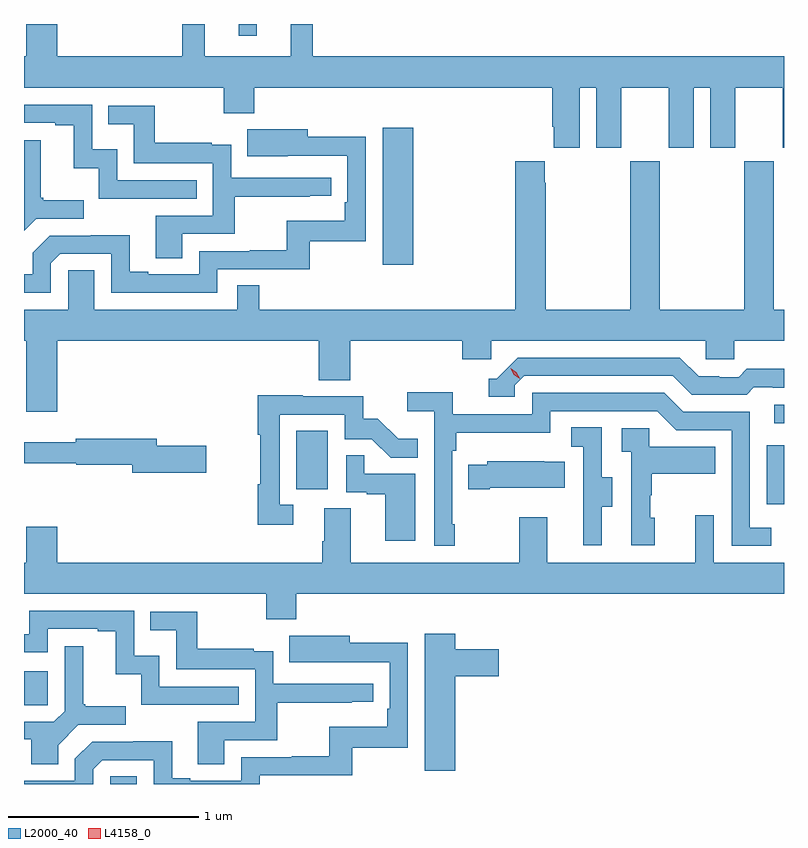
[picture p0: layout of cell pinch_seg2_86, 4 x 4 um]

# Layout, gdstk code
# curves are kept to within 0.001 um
import gdstk
lib = gdstk.Library(unit=1e-6, precision=1e-09)
def R(c, l, rs):  # rectangles x0, y0, x1, y1
    for r in rs: c.add(gdstk.rectangle(r[:2], r[2:], *l))
def P(c, l, *ps):  # polygons
    for p in ps: c.add(gdstk.Polygon(p, *l))
L2000_40 = (2000, 40)
L4158_0 = (4158, 0)

pinch_seg2_86 = lib.new_cell('pinch_seg2_86')
R(pinch_seg2_86, L2000_40, [(1040.574,631.983,1040.713,632.024), (1040.12,632.397,1040.244,632.577), (1044.03,633.456,1044.12,633.766), (1041.554,633.534,1041.718,633.841), (1044.069,633.882,1044.12,633.978), (1042.007,634.716,1042.168,635.437), (1041.249,635.922,1041.346,635.983)])
P(pinch_seg2_86, L2000_40, [(1043.044,635.648),(1043.132,635.648),(1043.132,635.331),(1043.263,635.331),(1043.263,635.648),(1043.513,635.648),(1043.513,635.331),(1043.644,635.331),(1043.644,635.648),(1043.732,635.648),(1043.732,635.331),(1043.863,635.331),(1043.863,635.648),(1044.113,635.648),(1044.113,635.331),(1044.12,635.331),(1044.12,635.812),(1041.641,635.812),(1041.641,635.983),(1041.524,635.983),(1041.524,635.812),(1041.071,635.812),(1041.071,635.983),(1040.953,635.983),(1040.953,635.812),(1040.296,635.812),(1040.296,635.983),(1040.132,635.983),(1040.132,635.812),(1040.12,635.812),(1040.12,635.648),(1041.172,635.648),(1041.172,635.513),(1041.332,635.513),(1041.332,635.648),(1042.901,635.648),(1042.901,635.443),(1042.907,635.443),(1042.907,635.331),(1043.044,635.331)],
  [(1041.029,635.16),(1040.61,635.16),(1040.61,635.323),(1040.478,635.323),(1040.478,635.559),(1040.12,635.559),(1040.12,635.463),(1040.285,635.463),(1040.285,635.451),(1040.381,635.451),(1040.381,635.225),(1040.514,635.225),(1040.514,635.064),(1041.029,635.064)],
  [(1040.953,634.878),(1041.23,634.878),(1041.23,635.074),(1041.623,635.074),(1041.623,635.079),(1041.736,635.079),(1041.736,635.175),(1041.21,635.175),(1041.21,635.347),(1041.107,635.347),(1041.107,635.359),(1040.809,635.359),(1040.809,635.553),(1040.563,635.553),(1040.563,635.456),(1040.698,635.456),(1040.698,635.25),(1041.114,635.25),(1041.114,634.974),(1040.813,634.974),(1040.813,634.75),(1040.953,634.75)],
  [(1040.262,634.725),(1040.31,634.773),(1040.58,634.773),(1040.58,634.569),(1041.138,634.569),(1041.138,634.692),(1041.625,634.692),(1041.625,634.839),(1041.918,634.839),(1041.918,635.39),(1041.613,635.39),(1041.613,635.428),(1041.295,635.428),(1041.295,635.288),(1041.822,635.289),(1041.822,635.044),(1041.809,635.044),(1041.809,634.948),(1041.504,634.948),(1041.504,634.793),(1041.307,634.793),(1041.307,634.788),(1041.042,634.788),(1041.042,634.665),(1040.773,634.665),(1040.773,634.678),(1040.677,634.678),(1040.677,634.871),(1040.472,634.871),(1040.472,634.869),(1040.256,634.869),(1040.166,634.779),(1040.166,634.665),(1040.12,634.665),(1040.12,634.569),(1040.262,634.569)],
  [(1040.184,634.959),(1040.434,634.959),(1040.434,635.056),(1040.221,635.056),(1040.221,635.068),(1040.209,635.068),(1040.209,635.371),(1040.12,635.371),(1040.12,634.895)],
  [(1040.296,634.316),(1041.671,634.316),(1041.671,634.108),(1041.836,634.108),(1041.836,634.316),(1042.427,634.316),(1042.427,634.218),(1042.578,634.218),(1042.578,634.316),(1043.709,634.316),(1043.709,634.218),(1043.859,634.218),(1043.859,634.316),(1044.12,634.316),(1044.12,634.48),(1044.066,634.48),(1044.066,635.26),(1043.911,635.26),(1043.911,634.48),(1043.466,634.48),(1043.466,635.26),(1043.311,635.26),(1043.311,634.48),(1042.866,634.48),(1042.866,635.147),(1042.861,635.147),(1042.861,635.26),(1042.706,635.26),(1042.706,634.48),(1041.359,634.48),(1041.359,634.607),(1041.243,634.607),(1041.243,634.48),(1040.491,634.48),(1040.491,634.688),(1040.352,634.688),(1040.352,634.48),(1040.12,634.48),(1040.12,634.316),(1040.132,634.316),(1040.132,633.942),(1040.296,633.942)],
  [(1042.704,634.083),(1042.752,634.131),(1043.535,634.131),(1043.634,634.032),(1043.923,634.032),(1043.962,634.071),(1044.061,634.071),(1044.061,634.068),(1044.12,634.068),(1044.12,634.168),(1043.923,634.168),(1043.881,634.125),(1043.778,634.125),(1043.778,634.128),(1043.671,634.128),(1043.572,634.227),(1042.719,634.227),(1042.608,634.116),(1042.565,634.116),(1042.565,634.02),(1042.704,634.02)],
  [(1042.387,633.349),(1042.374,633.349),(1042.374,633.737),(1042.394,633.737),(1042.394,633.833),(1042.89,633.833),(1042.89,633.945),(1043.454,633.945),(1043.553,633.846),(1043.844,633.846),(1043.844,633.237),(1044.053,633.237),(1044.053,633.333),(1043.94,633.333),(1043.94,633.942),(1043.59,633.942),(1043.491,634.041),(1042.794,634.041),(1042.794,633.93),(1042.376,633.93),(1042.376,634.046),(1042.137,634.046),(1042.137,633.944),(1042.278,633.944),(1042.278,633.237),(1042.387,633.237)],
  [(1041.538,633.453),(1041.465,633.453),(1041.465,633.927),(1041.807,633.927),(1041.807,633.798),(1041.951,633.798),(1042.049,633.7),(1042.193,633.7),(1042.193,633.799),(1042.089,633.799),(1041.982,633.906),(1041.906,633.906),(1041.906,634.023),(1041.587,634.023),(1041.587,634.028),(1041.349,634.028),(1041.349,633.82),(1041.364,633.82),(1041.364,633.56),(1041.349,633.56),(1041.349,633.348),(1041.538,633.348)],
  [(1043.161,633.442),(1043.215,633.442),(1043.215,633.597),(1043.16,633.597),(1043.16,633.86),(1043.001,633.86),(1043.001,633.757),(1043.064,633.757),(1043.064,633.453),(1043.063,633.453),(1043.063,633.24),(1043.161,633.24)],
  [(1043.44,633.384),(1043.415,633.384),(1043.415,633.503),(1043.425,633.503),(1043.425,633.617),(1043.759,633.617),(1043.759,633.757),(1043.412,633.757),(1043.412,633.855),(1043.265,633.855),(1043.265,633.731),(1043.316,633.731),(1043.316,633.24),(1043.44,633.24)],
  [(1041.079,633.764),(1040.818,633.764),(1040.818,633.8),(1040.392,633.8),(1040.392,633.781),(1040.12,633.781),(1040.12,633.672),(1040.394,633.672),(1040.394,633.664),(1040.69,633.664),(1040.69,633.622),(1041.079,633.622)],
  [(1042.18,633.615),(1041.911,633.615),(1041.911,633.713),(1041.816,633.713),(1041.816,633.519),(1041.923,633.519),(1041.923,633.507),(1042.022,633.507),(1042.022,633.264),(1042.18,633.264)],
  [(1042.57,633.542),(1042.967,633.542),(1042.967,633.679),(1042.859,633.679),(1042.859,633.682),(1042.557,633.682),(1042.557,633.664),(1042.459,633.664),(1042.459,633.535),(1042.57,633.535)],
  [(1041.554,632.984),(1044.12,632.984),(1044.12,633.148),(1043.751,633.148),(1043.751,633.397),(1043.654,633.397),(1043.654,633.148),(1042.873,633.148),(1042.873,633.388),(1042.726,633.388),(1042.726,633.148),(1041.841,633.148),(1041.841,633.434),(1041.701,633.434),(1041.701,633.26),(1041.689,633.26),(1041.689,633.148),(1040.296,633.148),(1040.296,633.337),(1040.132,633.337),(1040.132,633.148),(1040.12,633.148),(1040.12,632.984),(1041.394,632.984),(1041.394,632.849),(1041.554,632.849)],
  [(1041.251,632.496),(1040.832,632.496),(1040.832,632.659),(1040.7,632.659),(1040.7,632.895),(1040.148,632.895),(1040.148,632.772),(1040.12,632.772),(1040.12,632.676),(1040.244,632.676),(1040.244,632.799),(1040.507,632.799),(1040.507,632.787),(1040.603,632.787),(1040.603,632.561),(1040.736,632.561),(1040.736,632.4),(1041.251,632.4)],
  [(1041.175,632.214),(1041.452,632.214),(1041.452,632.41),(1041.845,632.41),(1041.845,632.415),(1041.958,632.415),(1041.958,632.511),(1041.432,632.511),(1041.432,632.683),(1041.329,632.683),(1041.329,632.695),(1041.031,632.695),(1041.031,632.889),(1040.785,632.889),(1040.785,632.792),(1040.92,632.792),(1040.92,632.586),(1041.336,632.586),(1041.336,632.31),(1041.035,632.31),(1041.035,632.086),(1041.175,632.086)],
  [(1042.39,632.549),(1042.618,632.549),(1042.618,632.691),(1042.39,632.691),(1042.39,632.773),(1042.229,632.773),(1042.229,632.052),(1042.39,632.052)],
  [(1040.484,632.061),(1040.532,632.109),(1040.802,632.109),(1040.802,631.983),(1041.36,631.983),(1041.36,632.028),(1041.847,632.028),(1041.847,632.175),(1042.14,632.175),(1042.14,632.726),(1041.835,632.726),(1041.835,632.764),(1041.517,632.764),(1041.517,632.624),(1042.044,632.625),(1042.044,632.38),(1042.031,632.38),(1042.031,632.284),(1041.726,632.284),(1041.726,632.129),(1041.529,632.129),(1041.529,632.124),(1041.264,632.124),(1041.264,632.001),(1040.995,632.001),(1040.995,632.014),(1040.899,632.014),(1040.899,632.207),(1040.694,632.207),(1040.694,632.205),(1040.478,632.205),(1040.388,632.115),(1040.388,632.001),(1040.12,632.001),(1040.12,631.983),(1040.484,631.983)],
  [(1040.299,632.188),(1040.406,632.295),(1040.656,632.295),(1040.656,632.392),(1040.443,632.392),(1040.443,632.404),(1040.431,632.404),(1040.431,632.707),(1040.334,632.707),(1040.334,632.367),(1040.277,632.31),(1040.12,632.31),(1040.12,632.218),(1040.159,632.218),(1040.159,632.086),(1040.299,632.086)])
P(pinch_seg2_86, L4158_0, [(1042.728,634.117),(1042.697,634.137),(1042.681,634.169),(1042.681,634.17),(1042.681,634.17),(1042.712,634.15),(1042.728,634.118),(1042.728,634.117)])

lib.write_gds('pinch_seg2_86.gds')
